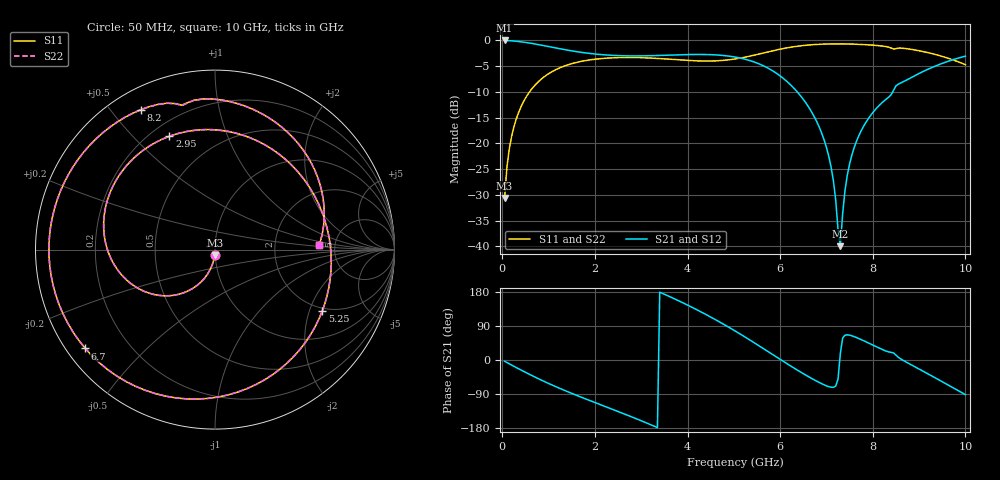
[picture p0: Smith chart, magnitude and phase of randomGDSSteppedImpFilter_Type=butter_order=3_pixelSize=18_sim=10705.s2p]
! freq	dB(S11)	phase(S11)	dB(S12)	phase(S12)
!  dB(S21)	phase(S21)	dB(S22)	phase(S22)
!S-par simulation data
#  GHz  S  DB  R 50
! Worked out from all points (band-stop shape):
!   200 points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, 50 MHz to 10 GHz, reference 50 ohm
!   highest |S21| = -0.01 dB at 50 MHz (marker M1); lowest = -40.0 dB at 7.3 GHz (marker M2)
!   |S21| within 3 dB of the highest: start of sweep to 2.758 GHz; 2.961 GHz to 4.856 GHz (1.895 GHz wide, 48.5 % of centre)
!   lowest |S11| = -30.6 dB at 50 MHz (marker M3), VSWR 1.06, Z = 49.7 - j2.93 ohm
!   |S11| at or under -10 dB: start of sweep to 588.3 MHz
!   |S22| runs from -30.6 to -0.7 dB; largest |S21 - S12| = 0
!   S11 on the Smith chart (normalised r, x): 50 MHz: 0.99, -0.06; 2.95 GHz: 0.27, +0.64; 5.25 GHz: 1.88, -2.45; 6.7 GHz: 0.05, -0.34; 8.2 GHz: 0.09, +0.60; 10 GHz: 3.75, +0.29
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0.05  -30.59 -93.4  -0.01 -3.4  -0.01 -3.4  -30.59 -93.4
0.2  -18.69 -103.8  -0.08 -13.3  -0.08 -13.3  -18.69 -103.8
0.5  -11.22 -123.0  -0.39 -32.5  -0.39 -32.5  -11.22 -123.0
1.05  -6.19 -155.2  -1.28 -64.7  -1.28 -64.7  -6.19 -155.2
1.75  -3.99 169.1  -2.37 -100.3  -2.37 -100.3  -3.99 169.1
2.95  -3.34 111.9  -3.01 -157.8  -3.01 -157.8  -3.34 111.9
3.4  -3.53 88.8  -2.92 179.0  -2.92 179.0  -3.53 88.8
4.4  -4.01 30.2  -2.74 119.9  -2.74 119.9  -4.01 30.1
5.05  -3.57 -14.8  -3.27 75.0  -3.27 75.0  -3.57 -14.9
5.25  -3.24 -29.8  -3.67 60.1  -3.67 60.1  -3.24 -29.9
5.65  -2.41 -61.1  -4.98 29.2  -4.98 29.2  -2.41 -61.2
6.05  -1.61 -93.0  -7.24 -2.2  -7.24 -2.2  -1.61 -93.1
6.7  -0.83 -142.7  -14.22 -50.0  -14.22 -50.0  -0.83 -142.8
7.1  -0.68 -170.8  -24.59 -71.9  -24.59 -71.9  -0.68 -170.9
7.3  -0.68 175.8  -39.95 17.8  -39.95 17.8  -0.68 175.7
7.4  -0.69 169.2  -29.15 65.4  -29.15 65.4  -0.69 169.2
7.55  -0.72 159.5  -22.21 63.8  -22.21 63.8  -0.72 159.4
8.2  -1.09 117.9  -12.10 28.1  -12.10 28.1  -1.09 117.8
8.35  -1.33 108.0  -10.98 21.1  -10.98 21.1  -1.34 107.9
8.75  -1.63 84.4  -7.60 -7.4  -7.60 -7.4  -1.63 84.4
9.2  -2.39 54.9  -5.56 -37.1  -5.56 -37.1  -2.39 54.8
10  -4.71 2.5  -3.06 -91.5  -3.06 -91.5  -4.71 2.5
